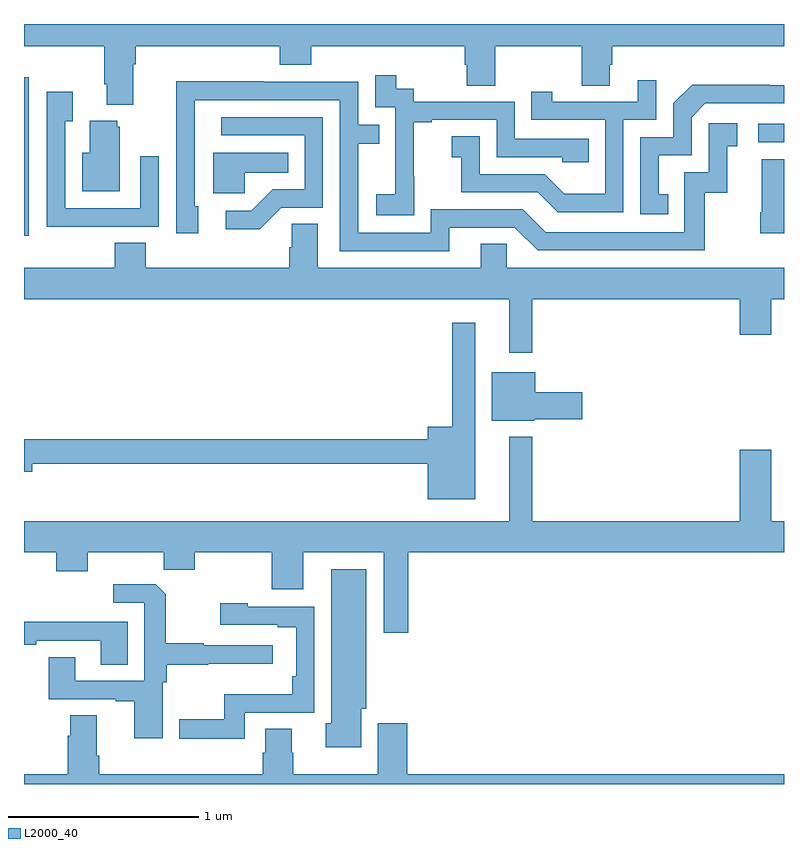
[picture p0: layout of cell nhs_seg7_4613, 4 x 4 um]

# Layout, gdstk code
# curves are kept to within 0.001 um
import gdstk
lib = gdstk.Library(unit=1e-6, precision=1e-09)
def R(c, l, rs):  # rectangles x0, y0, x1, y1
    for r in rs: c.add(gdstk.rectangle(r[:2], r[2:], *l))
def P(c, l, *ps):  # polygons
    for p in ps: c.add(gdstk.Polygon(p, *l))
L2000_40 = (2000, 40)

nhs_seg7_4613 = lib.new_cell('nhs_seg7_4613')
R(nhs_seg7_4613, L2000_40, [(401,1064.886,401.026,1065.721), (404.865,1065.378,405,1065.474)])
P(nhs_seg7_4613, L2000_40, [(401.575,1065.788),(401.588,1065.788),(401.588,1065.884),(402.347,1065.884),(402.347,1065.785),(402.512,1065.785),(402.512,1065.884),(403.319,1065.884),(403.319,1065.786),(403.331,1065.786),(403.331,1065.676),(403.479,1065.676),(403.479,1065.884),(403.936,1065.884),(403.936,1065.676),(404.083,1065.676),(404.083,1065.786),(404.096,1065.786),(404.096,1065.884),(405,1065.884),(405,1066),(401,1066),(401,1065.884),(401.423,1065.884),(401.423,1065.682),(401.435,1065.682),(401.435,1065.575),(401.575,1065.575)],
  [(403.053,1065.199),(403.052,1065.199),(403.052,1065.483),(403.147,1065.483),(403.147,1065.495),(403.488,1065.495),(403.488,1065.3),(403.833,1065.3),(403.833,1065.273),(403.973,1065.273),(403.973,1065.396),(403.584,1065.396),(403.584,1065.591),(403.05,1065.591),(403.05,1065.66),(402.958,1065.66),(402.958,1065.73),(402.849,1065.73),(402.849,1065.561),(402.954,1065.561),(402.954,1065.332),(402.953,1065.332),(402.953,1065.103),(402.855,1065.103),(402.855,1064.993),(403.053,1064.993)],
  [(404.154,1065.495),(404.328,1065.495),(404.328,1065.703),(404.231,1065.703),(404.231,1065.591),(403.78,1065.591),(403.78,1065.643),(403.669,1065.643),(403.669,1065.495),(404.058,1065.495),(404.058,1065.106),(403.844,1065.106),(403.74,1065.21),(403.398,1065.21),(403.398,1065.409),(403.251,1065.409),(403.251,1065.299),(403.3,1065.299),(403.3,1065.114),(403.703,1065.114),(403.808,1065.009),(404.154,1065.009)],
  [(403.237,1064.928),(403.584,1064.928),(403.704,1064.808),(404.584,1064.808),(404.584,1065.111),(404.702,1065.111),(404.702,1065.357),(404.755,1065.357),(404.755,1065.478),(404.604,1065.478),(404.604,1065.219),(404.475,1065.219),(404.475,1064.904),(403.746,1064.904),(403.626,1065.024),(403.14,1065.024),(403.14,1064.901),(402.759,1064.901),(402.759,1065.37),(402.869,1065.37),(402.869,1065.471),(402.759,1065.471),(402.759,1065.696),(402.263,1065.696),(402.263,1065.698),(401.8,1065.698),(401.8,1065.391),(401.802,1065.391),(401.802,1064.898),(401.917,1064.898),(401.917,1065.042),(401.898,1065.042),(401.899,1065.6),(402.663,1065.6),(402.663,1064.805),(403.237,1064.805)],
  [(404.39,1065.105),(404.341,1065.105),(404.341,1065.309),(404.514,1065.309),(404.514,1065.51),(404.586,1065.582),(405,1065.582),(405,1065.678),(404.924,1065.678),(404.924,1065.68),(404.516,1065.68),(404.418,1065.582),(404.418,1065.405),(404.244,1065.405),(404.244,1065),(404.39,1065)],
  [(401.393,1064.934),(401.709,1064.934),(401.709,1065.304),(401.613,1065.304),(401.613,1065.03),(401.217,1065.03),(401.217,1065.487),(401.257,1065.487),(401.257,1065.643),(401.121,1065.643),(401.121,1064.933),(401.393,1064.933)],
  [(402.354,1065.033),(402.573,1065.033),(402.573,1065.51),(402.039,1065.51),(402.039,1065.414),(402.477,1065.414),(402.477,1065.129),(402.308,1065.129),(402.197,1065.018),(402.063,1065.018),(402.063,1064.921),(402.241,1064.921)],
  [(401.503,1065.459),(401.492,1065.459),(401.492,1065.49),(401.345,1065.49),(401.345,1065.322),(401.306,1065.322),(401.306,1065.119),(401.503,1065.119)],
  [(402.162,1065.218),(402.392,1065.218),(402.392,1065.322),(401.996,1065.322),(401.996,1065.11),(402.162,1065.11)],
  [(405,1065.289),(404.882,1065.289),(404.882,1065.01),(404.875,1065.01),(404.875,1064.898),(405,1064.898)],
  [(403.675,1064.552),(404.768,1064.552),(404.768,1064.364),(404.932,1064.364),(404.932,1064.552),(405,1064.552),(405,1064.716),(403.542,1064.716),(403.542,1064.843),(403.403,1064.843),(403.403,1064.716),(402.547,1064.716),(402.547,1064.948),(402.408,1064.948),(402.408,1064.825),(402.395,1064.825),(402.395,1064.716),(401.642,1064.716),(401.642,1064.849),(401.477,1064.849),(401.477,1064.716),(401,1064.716),(401,1064.552),(403.553,1064.552),(403.553,1064.271),(403.675,1064.271)],
  [(403.375,1064.428),(403.254,1064.428),(403.254,1063.879),(403.124,1063.879),(403.124,1063.814),(401,1063.814),(401,1063.643),(401.044,1063.643),(401.044,1063.686),(403.124,1063.686),(403.124,1063.499),(403.375,1063.499)],
  [(403.686,1063.919),(403.939,1063.919),(403.939,1064.061),(403.69,1064.061),(403.69,1064.167),(403.463,1064.167),(403.463,1063.913),(403.686,1063.913)],
  [(403.022,1063.22),(405,1063.22),(405,1063.384),(404.932,1063.384),(404.932,1063.759),(404.768,1063.759),(404.768,1063.384),(403.675,1063.384),(403.675,1063.828),(403.553,1063.828),(403.553,1063.384),(401,1063.384),(401,1063.22),(401.171,1063.22),(401.171,1063.121),(401.335,1063.121),(401.335,1063.22),(401.735,1063.22),(401.735,1063.127),(401.899,1063.127),(401.899,1063.22),(402.305,1063.22),(402.305,1063.026),(402.469,1063.026),(402.469,1063.22),(402.893,1063.22),(402.893,1062.795),(403.022,1062.795)],
  [(402.775,1062.396),(402.802,1062.396),(402.802,1063.129),(402.617,1063.129),(402.617,1062.32),(402.587,1062.32),(402.587,1062.194),(402.775,1062.194)],
  [(401.73,1062.536),(401.75,1062.536),(401.75,1062.628),(401.969,1062.628),(401.969,1062.632),(402.31,1062.632),(402.31,1062.729),(401.945,1062.729),(401.945,1062.742),(401.745,1062.742),(401.745,1062.999),(401.693,1063.051),(401.469,1063.051),(401.469,1062.954),(401.634,1062.954),(401.634,1062.543),(401.269,1062.543),(401.269,1062.668),(401.129,1062.668),(401.129,1062.447),(401.483,1062.447),(401.483,1062.435),(401.579,1062.435),(401.579,1062.24),(401.73,1062.24)],
  [(402.162,1062.375),(402.528,1062.375),(402.528,1062.933),(402.177,1062.933),(402.177,1062.952),(402.033,1062.952),(402.033,1062.837),(402.335,1062.837),(402.335,1062.825),(402.432,1062.825),(402.432,1062.568),(402.412,1062.568),(402.412,1062.472),(402.054,1062.472),(402.054,1062.341),(401.817,1062.341),(401.817,1062.239),(402.162,1062.239)],
  [(401.545,1062.854),(401,1062.854),(401,1062.733),(401.065,1062.733),(401.065,1062.753),(401.405,1062.753),(401.405,1062.628),(401.545,1062.628)],
  [(405,1062.052),(403.016,1062.052),(403.016,1062.319),(402.863,1062.319),(402.863,1062.052),(402.417,1062.052),(402.417,1062.165),(402.409,1062.165),(402.409,1062.29),(402.269,1062.29),(402.269,1062.165),(402.257,1062.165),(402.257,1062.052),(401.396,1062.052),(401.396,1062.148),(401.383,1062.148),(401.383,1062.362),(401.243,1062.362),(401.243,1062.254),(401.231,1062.254),(401.231,1062.052),(401,1062.052),(401,1062),(405,1062)])

lib.write_gds('nhs_seg7_4613.gds')
